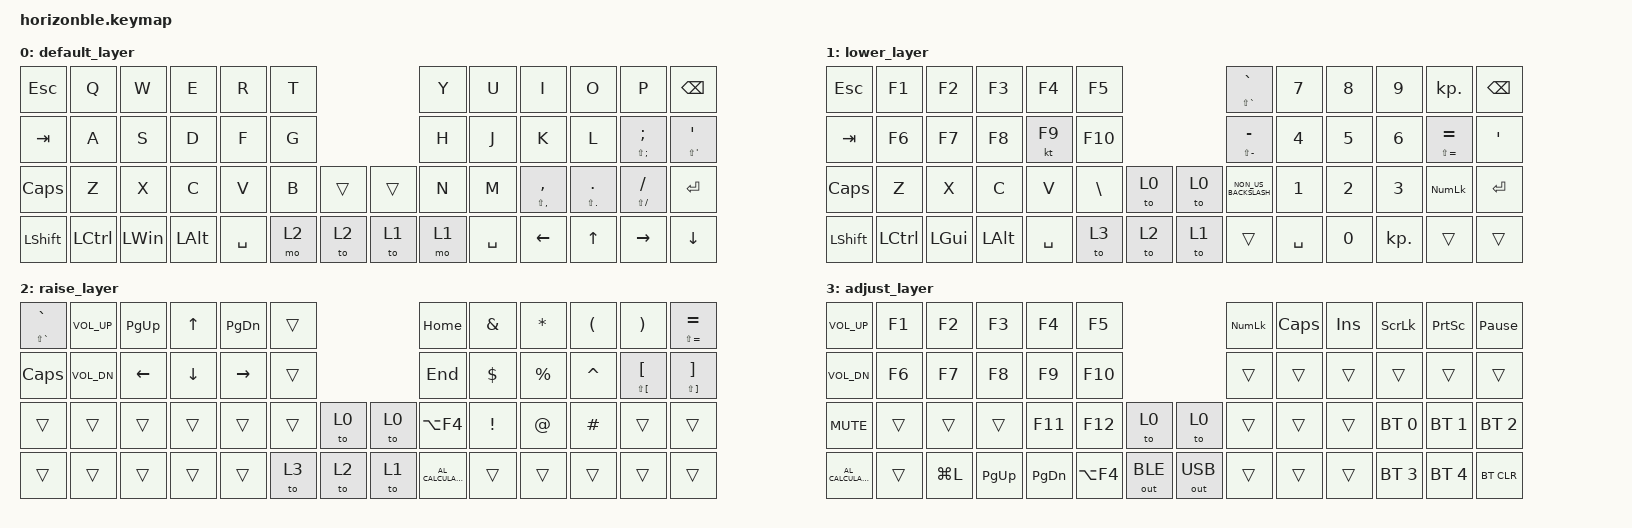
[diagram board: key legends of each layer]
/*
 * Copyright (c) 2021 The ZMK Contributors
 *
 * SPDX-License-Identifier: MIT
 */

#include <behaviors.dtsi>
#include <dt-bindings/zmk/bt.h>
#include <dt-bindings/zmk/keys.h>
#include <dt-bindings/zmk/keys.h>
#include <dt-bindings/zmk/outputs.h>

&lt {
    flavor = "balanced";
    tapping-term-ms = <100>;
};

/ {
    combos { compatible = "zmk,combos"; };

    macros {
        macro0: macro0 {
            compatible = "zmk,behavior-macro";
            #binding-cells = <0>;
            bindings = <&kp N1 &kp N2 &kp N1 &kp N2 &kp N1 &kp N3>;
            label = "MACRO0";
        };
    };

    behaviors {
        auto_shift: auto_shift {
            compatible = "zmk,behavior-hold-tap";
            label = "AUTO_SHIFT";
            bindings = <&kp>, <&kp>;

            #binding-cells = <2>;
            tapping-term-ms = <175>;
            quick-tap-ms = <0>;
            flavor = "tap-preferred";
        };
    };

    keymap {
        compatible = "zmk,keymap";

        default_layer {
            bindings = <
&kp ESC     &kp Q      &kp W     &kp E     &kp R      &kp T                  &kp Y  &kp U      &kp I                        &kp O                    &kp P                      &kp BSPC
&kp TAB     &kp A      &kp S     &kp D     &kp F      &kp G                  &kp H  &kp J      &kp K                        &kp L                    &auto_shift LS(SEMI) SEMI  &auto_shift LS(SQT) SQT
&kp CAPS    &kp Z      &kp X     &kp C     &kp V      &kp B  &trans  &trans  &kp N  &kp M      &auto_shift LS(COMMA) COMMA  &auto_shift LS(DOT) DOT  &auto_shift LS(FSLH) FSLH  &kp ENTER
&kp LSHIFT  &kp LCTRL  &kp LWIN  &kp LALT  &kp SPACE  &mo 2  &to 2   &to 1   &mo 1  &kp SPACE  &kp LEFT                     &kp UP                   &kp RIGHT                  &kp DOWN
            >;
        };

        lower_layer {
            bindings = <
&kp ESC         &kp F1     &kp F2        &kp F3        &kp F4     &kp F5                  &mt LS(GRAVE) GRAVE   &kp N7     &kp N8  &kp N9      &kp KP_DOT           &kp BACKSPACE
&kp TAB         &kp F6     &kp F7        &kp F8        &kt F9     &kp F10                 &mt LS(MINUS) MINUS   &kp N4     &kp N5  &kp N6      &mt LS(EQUAL) EQUAL  &kp SQT
&kp CAPS        &kp Z      &kp X         &kp C         &kp V      &kp BSLH  &to 0  &to 0  &kp NON_US_BACKSLASH  &kp N1     &kp N2  &kp N3      &kp KP_NUMLOCK       &kp ENTER
&kp LEFT_SHIFT  &kp LCTRL  &kp LEFT_GUI  &kp LEFT_ALT  &kp SPACE  &to 3     &to 2  &to 1  &trans                &kp SPACE  &kp N0  &kp KP_DOT  &trans               &trans
            >;
        };

        raise_layer {
            bindings = <
&auto_shift LS(GRAVE) GRAVE  &kp C_VOL_UP  &kp PG_UP  &kp UP    &kp PAGE_DOWN  &trans                &kp HOME             &kp AMPS  &kp STAR   &kp LPAR   &kp RPAR           &mt LS(EQUAL) EQUAL
&kp CLCK                     &kp C_VOL_DN  &kp LEFT   &kp DOWN  &kp RIGHT      &trans                &kp END              &kp DLLR  &kp PRCNT  &kp CARET  &mt LS(LBKT) LBKT  &mt LS(RBKT) RBKT
&trans                       &trans        &trans     &trans    &trans         &trans  &to 0  &to 0  &kp LA(F4)           &kp EXCL  &kp AT     &kp HASH   &trans             &trans
&trans                       &trans        &trans     &trans    &trans         &to 3   &to 2  &to 1  &kp C_AL_CALCULATOR  &trans    &trans     &trans     &trans             &trans
            >;
        };

        adjust_layer {
            bindings = <
&kp C_VOL_UP         &kp F1  &kp F2     &kp F3       &kp F4         &kp F5                                  &kp KP_NUMLOCK  &kp CLCK  &kp INSERT  &kp SCROLLLOCK  &kp PRINTSCREEN  &kp PAUSE_BREAK
&kp C_VOL_DN         &kp F6  &kp F7     &kp F8       &kp F9         &kp F10                                 &trans          &trans    &trans      &trans          &trans           &trans
&kp K_MUTE           &trans  &trans     &trans       &kp F11        &kp F12     &to 0         &to 0         &trans          &trans    &trans      &bt BT_SEL 0    &bt BT_SEL 1     &bt BT_SEL 2
&kp C_AL_CALCULATOR  &trans  &kp LG(L)  &kp PAGE_UP  &kp PAGE_DOWN  &kp LA(F4)  &out OUT_BLE  &out OUT_USB  &trans          &trans    &trans      &bt BT_SEL 3    &bt BT_SEL 4     &bt BT_CLR
            >;
        };
    };
};
